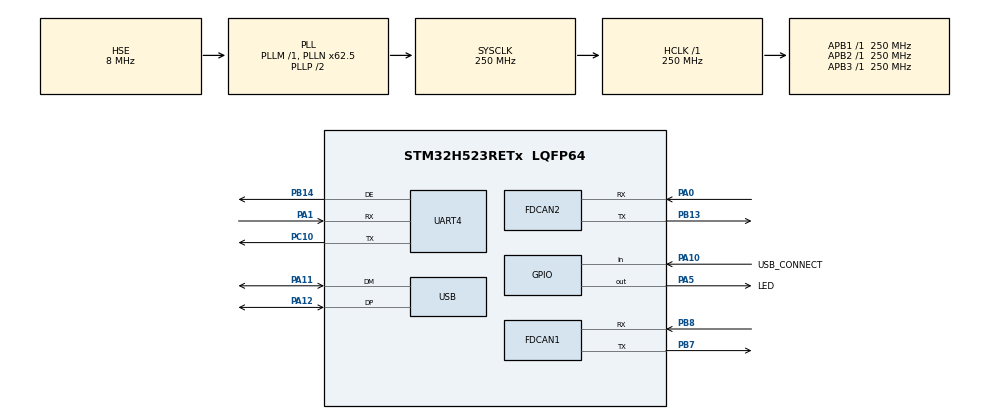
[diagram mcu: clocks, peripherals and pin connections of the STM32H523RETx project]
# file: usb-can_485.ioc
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BOOTPATH.BootPathName=LEGACY
BOOTPATH.UserSelectedBootPath=LEGACY
CORTEX_M33_NS.userName=CORTEX_M33
FDCAN1.CalculateBaudRateNominal=250000
FDCAN1.CalculateTimeBitNominal=4000
FDCAN1.CalculateTimeQuantumNominal=1000.0
FDCAN1.NominalPrescaler=8
FDCAN1.NominalTimeSeg1=2
FDCAN1.NominalTimeSeg2=1
FDCAN2.CalculateBaudRateNominal=250000
FDCAN2.CalculateTimeBitNominal=4000
FDCAN2.CalculateTimeQuantumNominal=1000.0
FDCAN2.NominalPrescaler=8
FDCAN2.NominalTimeSeg1=2
Mcu.Family=STM32H5
Mcu.Name=STM32H523RETx
Mcu.Package=LQFP64
NVIC.CRS_IRQn=true\:3\:0\:true\:false\:true\:true\:true\:true
NVIC.FDCAN1_IT0_IRQn=true\:2\:1\:true\:false\:true\:true\:true\:true
NVIC.FDCAN2_IT0_IRQn=true\:2\:0\:true\:false\:true\:true\:true\:true
NVIC.PriorityGroup=NVIC_PRIORITYGROUP_3
NVIC.USB_DRD_FS_IRQn=true\:1\:0\:true\:false\:true\:true\:true\:true
PA0.GPIO_Speed=GPIO_SPEED_FREQ_VERY_HIGH
PA0.Mode=FDCAN_Activate
PA0.Signal=FDCAN2_RX
PA1.GPIO_Speed=GPIO_SPEED_FREQ_VERY_HIGH
PA1.Mode=Asynchronous
PA1.Signal=UART4_RX
PA10.GPIO_Label=USB_CONNECT
PA10.Signal=GPIO_Input
PA11.Mode=Device
PA11.Signal=USB_DM
PA12.Mode=Device
PA12.Signal=USB_DP
PA5.GPIO_Label=LED
PA5.GPIO_Speed=GPIO_SPEED_FREQ_VERY_HIGH
PA5.Signal=GPIO_Output
PB13.GPIO_Speed=GPIO_SPEED_FREQ_VERY_HIGH
PB13.Mode=FDCAN_Activate
PB13.Signal=FDCAN2_TX
PB14.GPIO_Speed=GPIO_SPEED_FREQ_VERY_HIGH
PB14.Mode=Hardware Flow Control (RS485)
PB14.Signal=UART4_DE
PB7.GPIO_Speed=GPIO_SPEED_FREQ_VERY_HIGH
PB7.Mode=FDCAN_Activate
PB7.Signal=FDCAN1_TX
PB8.GPIO_Speed=GPIO_SPEED_FREQ_VERY_HIGH
PB8.Mode=FDCAN_Activate
PB8.Signal=FDCAN1_RX
PC10.GPIO_Speed=GPIO_SPEED_FREQ_VERY_HIGH
PC10.Mode=Asynchronous
PC10.Signal=UART4_TX
PH0-OSC_IN(PH0).Mode=HSE-External-Oscillator
PH0-OSC_IN(PH0).Signal=RCC_OSC_IN
PH1-OSC_OUT(PH1).Mode=HSE-External-Oscillator
PH1-OSC_OUT(PH1).Signal=RCC_OSC_OUT
ProjectManager.HeapSize=0x200
ProjectManager.StackSize=0x400
ProjectManager.TargetToolchain=STM32CubeIDE
RCC.ADCFreq_Value=250000000
RCC.AHBFreq_Value=250000000
RCC.APB1Freq_Value=250000000
RCC.APB1TimFreq_Value=250000000
RCC.APB2Freq_Value=250000000
RCC.APB2TimFreq_Value=250000000
RCC.APB3Freq_Value=250000000
RCC.CSI_VALUE=4000000
RCC.CortexFreq_Value=250000000
RCC.EPOD_VALUE=8000000
RCC.HCLKFreq_Value=250000000
RCC.HSE_VALUE=8000000
RCC.HSI48_VALUE=48000000
RCC.HSI_VALUE=64000000
RCC.LSE_VALUE=32768
RCC.LSIRC_VALUE=32000
RCC.PLL2FRACN=0
RCC.PLL2Source=RCC_PLL2_SOURCE_HSE
RCC.PLL3FRACN=0
RCC.PLL3N=18
RCC.PLL3Q=3
RCC.PLL3Source=RCC_PLL3_SOURCE_HSE
RCC.PLLFRACN=4096
RCC.PLLN=62
RCC.PLLSourceVirtual=RCC_PLL1_SOURCE_HSE
RCC.SYSCLKFreq_VALUE=250000000
RCC.SYSCLKSource=RCC_SYSCLKSOURCE_PLLCLK
RCC.USBFreq_Value=48000000
RCC.VCOOutputFreq_Value=500000000
USB.Sof_enable-Device=DISABLE
USB.VirtualMode=Device_Only
USBX.BSP.number=1
USBX.Core_System=1
USBX.MAX_POWER_IN_MILLI_AMPER=500
USBX.REG_UX_DEVICE_CORE=true
USBX.USBD_CDCACM_EPIN_ADDR=2
USBX.USBD_CDCACM_EPOUT_ADDR=3
USBX.USBX_DEVICE_SYS_SIZE=4096
USBX.UX_DEBUG_LOG_SIZE=1024
USBX.UX_DEVICE_APP_MEM_POOL_SIZE_STANDALONE=16384
USBX.UX_DEVICE_CDC_ACM=1
USBX.UX_DEVICE_CLASS_CDC_ACM_TRANSMISSION_DISABLE=0
USBX.UX_Device_Controller=1
USBX.UX_Device_CoreStack=1
USBX.UX_SLAVE_REQUEST_CONTROL_MAX_LENGTH=1024
USBX0.BSP.STBoard=false
USBX0.BSP.api=Unknown
USBX0.BSP.instance=USB
USBX0.BSP.ip=USB
USBX0.BSP.mode=Device_Only
USBX0.BSP.name=USB_Device
USBX0.BSP.solution=USB
VP_BOOTPATH_VS_BOOTPATH.Mode=BP_Activate
VP_CORTEX_M33_NS_VS_Hclk.Mode=Hclk_Mode
VP_MEMORYMAP_VS_MEMORYMAP.Mode=CurAppReg
VP_PWR_VS_LPOM.Mode=PowerOptimisation
VP_PWR_VS_SECSignals.Mode=Security/Privilege
VP_RCC_USB.Mode=CRS SYNC Source USB
VP_USBX_Core_System.Mode=Core_System
VP_USBX_UX\ Device\ CDC\ ACM\ Class_FS.Mode=UX_Device_class_CDC_ACM_FS
VP_USBX_UX\ Device\ Controller_FS.Mode=UX_Device_Controller_FS
VP_USBX_UX\ Device\ CoreStack_FS.Mode=UX_Device_CoreStack_FS
board=custom

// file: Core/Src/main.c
/* USER CODE BEGIN Header */
/**
  ******************************************************************************
  * @file           : main.c
  * @brief          : Main program body
  ******************************************************************************
  * @attention
  *
  * Copyright (c) 2026 STMicroelectronics.
  * All rights reserved.
  *
  * This software is licensed under terms that can be found in the LICENSE file
  * in the root directory of this software component.
  * If no LICENSE file comes with this software, it is provided AS-IS.
  *
  ******************************************************************************
  */
/* USER CODE END Header */
#include "main.h"
#include "app_usbx_device.h"

/* USER CODE BEGIN Includes */
#include "can_usb_bridge.h"
#include "led.h"

/* USER CODE END Includes */

FDCAN_HandleTypeDef hfdcan1;
FDCAN_HandleTypeDef hfdcan2;

UART_HandleTypeDef huart4;

PCD_HandleTypeDef hpcd_USB_DRD_FS;

void SystemClock_Config(void);
static void MX_GPIO_Init(void);
static void MX_FDCAN1_Init(void);
static void MX_FDCAN2_Init(void);
static void MX_UART4_Init(void);
static void MX_USB_PCD_Init(void);

/* USER CODE BEGIN 0 */
static void USB_CRS_Config(void)
{
  RCC_CRSInitTypeDef crs_cfg = {0};

  __HAL_RCC_CRS_CLK_ENABLE();

  crs_cfg.Prescaler = RCC_CRS_SYNC_DIV1;
  crs_cfg.Source = RCC_CRS_SYNC_SOURCE_USB;
  crs_cfg.Polarity = RCC_CRS_SYNC_POLARITY_RISING;
  crs_cfg.ReloadValue = __HAL_RCC_CRS_RELOADVALUE_CALCULATE(48000000U, 1000U);
  crs_cfg.ErrorLimitValue = RCC_CRS_ERRORLIMIT_DEFAULT;
  crs_cfg.HSI48CalibrationValue = RCC_CRS_HSI48CALIBRATION_DEFAULT;
  HAL_RCCEx_CRSConfig(&crs_cfg);
}
static void FDCAN_ConfigAcceptAll(FDCAN_HandleTypeDef *hfdcan)
{
  FDCAN_FilterTypeDef sFilterConfig = {0};
  sFilterConfig.IdType = FDCAN_EXTENDED_ID;
  sFilterConfig.FilterIndex = 0;
  sFilterConfig.FilterType = FDCAN_FILTER_MASK;
  sFilterConfig.FilterConfig = FDCAN_FILTER_TO_RXFIFO0;
  sFilterConfig.FilterID1 = 0;
  sFilterConfig.FilterID2 = 0;
  (void)HAL_FDCAN_ConfigFilter(hfdcan, &sFilterConfig);

  sFilterConfig.IdType = FDCAN_STANDARD_ID;
  sFilterConfig.FilterIndex = 1;
  sFilterConfig.FilterType = FDCAN_FILTER_MASK;
  sFilterConfig.FilterConfig = FDCAN_FILTER_TO_RXFIFO0;
  sFilterConfig.FilterID1 = 0;
  sFilterConfig.FilterID2 = 0;
  (void)HAL_FDCAN_ConfigFilter(hfdcan, &sFilterConfig);

  (void)HAL_FDCAN_ConfigGlobalFilter(hfdcan, FDCAN_ACCEPT_IN_RX_FIFO0, FDCAN_ACCEPT_IN_RX_FIFO0,
                                     FDCAN_FILTER_REMOTE, FDCAN_FILTER_REMOTE);
}

/* USER CODE END 0 */

int main(void)
{

  /* MCU Configuration--------------------------------------------------------*/

  /* Reset of all peripherals, Initializes the Flash interface and the Systick. */
  HAL_Init();

  /* Configure the system clock */
  SystemClock_Config();

  /* USER CODE BEGIN SysInit */
  USB_CRS_Config();

  /* USER CODE END SysInit */

  /* Initialize all configured peripherals */
  MX_GPIO_Init();
  Led_Init();
  MX_FDCAN1_Init();
  MX_FDCAN2_Init();
  MX_UART4_Init();
  MX_USB_PCD_Init();
  MX_USBX_Device_Init();
  /* USER CODE BEGIN 2 */
  HAL_PWREx_EnableVddUSB();
  HAL_PWREx_EnableUSBVoltageDetector();

  FDCAN_ConfigAcceptAll(&hfdcan1);
  FDCAN_ConfigAcceptAll(&hfdcan2);
  HAL_FDCAN_Start(&hfdcan1);
  HAL_FDCAN_Start(&hfdcan2);
  HAL_FDCAN_ActivateNotification(&hfdcan1, FDCAN_IT_RX_FIFO0_NEW_MESSAGE, 0);
  HAL_FDCAN_ActivateNotification(&hfdcan2, FDCAN_IT_RX_FIFO0_NEW_MESSAGE, 0);
  Bridge_Init();

  /* USER CODE END 2 */

  /* Infinite loop */
  while (1)
  {

    /* USER CODE BEGIN 3 */
    MX_USBX_Device_Process();
    Bridge_Process();
    //Led_Process();
  }
  /* USER CODE END 3 */
}

void SystemClock_Config(void)
{
  RCC_OscInitTypeDef RCC_OscInitStruct = {0};
  RCC_ClkInitTypeDef RCC_ClkInitStruct = {0};
  RCC_CRSInitTypeDef RCC_CRSInitStruct = {0};

  /** Configure the main internal regulator output voltage
  */
  __HAL_PWR_VOLTAGESCALING_CONFIG(PWR_REGULATOR_VOLTAGE_SCALE0);

  while(!__HAL_PWR_GET_FLAG(PWR_FLAG_VOSRDY)) {}

  /** Initializes the RCC Oscillators according to the specified parameters
  * in the RCC_OscInitTypeDef structure.
  */
  RCC_OscInitStruct.OscillatorType = RCC_OSCILLATORTYPE_HSI48|RCC_OSCILLATORTYPE_HSE;
  RCC_OscInitStruct.HSEState = RCC_HSE_ON;
  RCC_OscInitStruct.HSI48State = RCC_HSI48_ON;
  RCC_OscInitStruct.PLL.PLLState = RCC_PLL_ON;
  RCC_OscInitStruct.PLL.PLLSource = RCC_PLL1_SOURCE_HSE;
  RCC_OscInitStruct.PLL.PLLM = 1;
  RCC_OscInitStruct.PLL.PLLN = 62;
  RCC_OscInitStruct.PLL.PLLP = 2;
  RCC_OscInitStruct.PLL.PLLQ = 2;
  RCC_OscInitStruct.PLL.PLLR = 2;
  RCC_OscInitStruct.PLL.PLLRGE = RCC_PLL1_VCIRANGE_3;
  RCC_OscInitStruct.PLL.PLLVCOSEL = RCC_PLL1_VCORANGE_WIDE;
  RCC_OscInitStruct.PLL.PLLFRACN = 4096;
  if (HAL_RCC_OscConfig(&RCC_OscInitStruct) != HAL_OK)
  {
    Error_Handler();
  }

  /** Initializes the CPU, AHB and APB buses clocks
  */
  RCC_ClkInitStruct.ClockType = RCC_CLOCKTYPE_HCLK|RCC_CLOCKTYPE_SYSCLK
                              |RCC_CLOCKTYPE_PCLK1|RCC_CLOCKTYPE_PCLK2
                              |RCC_CLOCKTYPE_PCLK3;
  RCC_ClkInitStruct.SYSCLKSource = RCC_SYSCLKSOURCE_PLLCLK;
  RCC_ClkInitStruct.AHBCLKDivider = RCC_SYSCLK_DIV1;
  RCC_ClkInitStruct.APB1CLKDivider = RCC_HCLK_DIV1;
  RCC_ClkInitStruct.APB2CLKDivider = RCC_HCLK_DIV1;
  RCC_ClkInitStruct.APB3CLKDivider = RCC_HCLK_DIV1;

  if (HAL_RCC_ClockConfig(&RCC_ClkInitStruct, FLASH_LATENCY_5) != HAL_OK)
  {
    Error_Handler();
  }

  /** Enable the CRS APB clock
  */
  __HAL_RCC_CRS_CLK_ENABLE();

  /** Configures CRS
  */
  RCC_CRSInitStruct.Prescaler = RCC_CRS_SYNC_DIV1;
  RCC_CRSInitStruct.Source = RCC_CRS_SYNC_SOURCE_USB;
  RCC_CRSInitStruct.Polarity = RCC_CRS_SYNC_POLARITY_RISING;
  RCC_CRSInitStruct.ReloadValue = __HAL_RCC_CRS_RELOADVALUE_CALCULATE(48000000,1000);
  RCC_CRSInitStruct.ErrorLimitValue = 34;
  RCC_CRSInitStruct.HSI48CalibrationValue = 32;

  HAL_RCCEx_CRSConfig(&RCC_CRSInitStruct);

  /** Configure the programming delay
  */
  __HAL_FLASH_SET_PROGRAM_DELAY(FLASH_PROGRAMMING_DELAY_2);
}

static void MX_FDCAN1_Init(void)
{

  hfdcan1.Instance = FDCAN1;
  hfdcan1.Init.ClockDivider = FDCAN_CLOCK_DIV1;
  hfdcan1.Init.FrameFormat = FDCAN_FRAME_CLASSIC;
  hfdcan1.Init.Mode = FDCAN_MODE_NORMAL;
  hfdcan1.Init.AutoRetransmission = DISABLE;
  hfdcan1.Init.TransmitPause = DISABLE;
  hfdcan1.Init.ProtocolException = DISABLE;
  hfdcan1.Init.NominalPrescaler = 8;
  hfdcan1.Init.NominalSyncJumpWidth = 1;
  hfdcan1.Init.NominalTimeSeg1 = 2;
  hfdcan1.Init.NominalTimeSeg2 = 1;
  hfdcan1.Init.DataPrescaler = 1;
  hfdcan1.Init.DataSyncJumpWidth = 1;
  hfdcan1.Init.DataTimeSeg1 = 1;
  hfdcan1.Init.DataTimeSeg2 = 1;
  hfdcan1.Init.StdFiltersNbr = 0;
  hfdcan1.Init.ExtFiltersNbr = 0;
  hfdcan1.Init.TxFifoQueueMode = FDCAN_TX_FIFO_OPERATION;
  if (HAL_FDCAN_Init(&hfdcan1) != HAL_OK)
  {
    Error_Handler();
  }

}

static void MX_FDCAN2_Init(void)
{

  hfdcan2.Instance = FDCAN2;
  hfdcan2.Init.ClockDivider = FDCAN_CLOCK_DIV1;
  hfdcan2.Init.FrameFormat = FDCAN_FRAME_CLASSIC;
  hfdcan2.Init.Mode = FDCAN_MODE_NORMAL;
  hfdcan2.Init.AutoRetransmission = DISABLE;
  hfdcan2.Init.TransmitPause = DISABLE;
  hfdcan2.Init.ProtocolException = DISABLE;
  hfdcan2.Init.NominalPrescaler = 8;
  hfdcan2.Init.NominalSyncJumpWidth = 1;
  hfdcan2.Init.NominalTimeSeg1 = 2;
  hfdcan2.Init.NominalTimeSeg2 = 1;
  hfdcan2.Init.DataPrescaler = 1;
  hfdcan2.Init.DataSyncJumpWidth = 1;
  hfdcan2.Init.DataTimeSeg1 = 1;
  hfdcan2.Init.DataTimeSeg2 = 1;
  hfdcan2.Init.StdFiltersNbr = 0;
  hfdcan2.Init.ExtFiltersNbr = 0;
  hfdcan2.Init.TxFifoQueueMode = FDCAN_TX_FIFO_OPERATION;
  if (HAL_FDCAN_Init(&hfdcan2) != HAL_OK)
  {
    Error_Handler();
  }

}

static void MX_UART4_Init(void)
{

  huart4.Instance = UART4;
  huart4.Init.BaudRate = 460800;
  huart4.Init.WordLength = UART_WORDLENGTH_8B;
  huart4.Init.StopBits = UART_STOPBITS_1;
  huart4.Init.Parity = UART_PARITY_NONE;
  huart4.Init.Mode = UART_MODE_TX_RX;
  huart4.Init.HwFlowCtl = UART_HWCONTROL_NONE;
  huart4.Init.OverSampling = UART_OVERSAMPLING_16;
  huart4.Init.OneBitSampling = UART_ONE_BIT_SAMPLE_DISABLE;
  huart4.Init.ClockPrescaler = UART_PRESCALER_DIV1;
  huart4.AdvancedInit.AdvFeatureInit = UART_ADVFEATURE_NO_INIT;
  if (HAL_RS485Ex_Init(&huart4, UART_DE_POLARITY_HIGH, 0, 0) != HAL_OK)
  {
    Error_Handler();
  }
  if (HAL_UARTEx_SetTxFifoThreshold(&huart4, UART_TXFIFO_THRESHOLD_1_8) != HAL_OK)
  {
    Error_Handler();
  }
  if (HAL_UARTEx_SetRxFifoThreshold(&huart4, UART_RXFIFO_THRESHOLD_1_8) != HAL_OK)
  {
    Error_Handler();
  }
  if (HAL_UARTEx_DisableFifoMode(&huart4) != HAL_OK)
  {
    Error_Handler();
  }

}

static void MX_USB_PCD_Init(void)
{

  hpcd_USB_DRD_FS.Instance = USB_DRD_FS;
  hpcd_USB_DRD_FS.Init.dev_endpoints = 8;
  hpcd_USB_DRD_FS.Init.speed = USBD_FS_SPEED;
  hpcd_USB_DRD_FS.Init.phy_itface = PCD_PHY_EMBEDDED;
  hpcd_USB_DRD_FS.Init.Sof_enable = DISABLE;
  hpcd_USB_DRD_FS.Init.low_power_enable = DISABLE;
  hpcd_USB_DRD_FS.Init.lpm_enable = DISABLE;
  hpcd_USB_DRD_FS.Init.battery_charging_enable = DISABLE;
  hpcd_USB_DRD_FS.Init.vbus_sensing_enable = DISABLE;
  hpcd_USB_DRD_FS.Init.bulk_doublebuffer_enable = DISABLE;
  hpcd_USB_DRD_FS.Init.iso_singlebuffer_enable = DISABLE;
  if (HAL_PCD_Init(&hpcd_USB_DRD_FS) != HAL_OK)
  {
    Error_Handler();
  }
  /* USER CODE BEGIN USB_Init 2 */
  /* PMA: как в примерах ST для USBX CDC на H5 — по 64 байта на bulk IN/OUT без перекрытия. */
  if (HAL_PCDEx_PMAConfig(&hpcd_USB_DRD_FS, 0x00U, PCD_SNG_BUF, 0x20U) != HAL_OK)
  {
    Error_Handler();
  }
  if (HAL_PCDEx_PMAConfig(&hpcd_USB_DRD_FS, 0x80U, PCD_SNG_BUF, 0x60U) != HAL_OK)
  {
    Error_Handler();
  }
  if (HAL_PCDEx_PMAConfig(&hpcd_USB_DRD_FS, 0x81U, PCD_SNG_BUF, 0xA0U) != HAL_OK)
  {
    Error_Handler();
  }
  if (HAL_PCDEx_PMAConfig(&hpcd_USB_DRD_FS, 0x82U, PCD_SNG_BUF, 0xE0U) != HAL_OK)
  {
    Error_Handler();
  }
  if (HAL_PCDEx_PMAConfig(&hpcd_USB_DRD_FS, 0x03U, PCD_SNG_BUF, 0x120U) != HAL_OK)
  {
    Error_Handler();
  }

  /* USER CODE END USB_Init 2 */

}

static void MX_GPIO_Init(void)
{
  GPIO_InitTypeDef GPIO_InitStruct = {0};

  /* GPIO Ports Clock Enable */
  __HAL_RCC_GPIOH_CLK_ENABLE();
  __HAL_RCC_GPIOA_CLK_ENABLE();
  __HAL_RCC_GPIOB_CLK_ENABLE();
  __HAL_RCC_GPIOC_CLK_ENABLE();

  /*Configure GPIO pin Output Level */
  HAL_GPIO_WritePin(LED_GPIO_Port, LED_Pin, GPIO_PIN_RESET);

  /*Configure GPIO pin : LED_Pin */
  GPIO_InitStruct.Pin = LED_Pin;
  GPIO_InitStruct.Mode = GPIO_MODE_OUTPUT_PP;
  GPIO_InitStruct.Pull = GPIO_NOPULL;
  GPIO_InitStruct.Speed = GPIO_SPEED_FREQ_VERY_HIGH;
  HAL_GPIO_Init(LED_GPIO_Port, &GPIO_InitStruct);

  /*Configure GPIO pin : USB_CONNECT_Pin */
  GPIO_InitStruct.Pin = USB_CONNECT_Pin;
  GPIO_InitStruct.Mode = GPIO_MODE_INPUT;
  GPIO_InitStruct.Pull = GPIO_NOPULL;
  HAL_GPIO_Init(USB_CONNECT_GPIO_Port, &GPIO_InitStruct);

  /* USER CODE BEGIN MX_GPIO_Init_2 */
  /* Leave USB_CONNECT in high impedance (no software drive). */
  /* USER CODE END MX_GPIO_Init_2 */
}

/* USER CODE BEGIN 4 */
void HAL_FDCAN_RxFifo0Callback(FDCAN_HandleTypeDef *hfdcan, uint32_t RxFifo0ITs)
{
  if ((RxFifo0ITs & FDCAN_IT_RX_FIFO0_NEW_MESSAGE) == 0u) {
    return;
  }
  uint8_t bus = (hfdcan->Instance == FDCAN2) ? 2u : 1u;
  while (HAL_FDCAN_GetRxFifoFillLevel(hfdcan, FDCAN_RX_FIFO0) > 0u) {
    FDCAN_RxHeaderTypeDef rxh;
    uint8_t data[8] = {0};
    if (HAL_FDCAN_GetRxMessage(hfdcan, FDCAN_RX_FIFO0, &rxh, data) != HAL_OK) {
      break;
    }
    uint32_t id = (rxh.IdType == FDCAN_EXTENDED_ID) ? (rxh.Identifier & 0x1FFFFFFFu)
                                                     : (rxh.Identifier & 0x7FFu);
    Bridge_CanRxPush(bus, id, data);
  }
}

void HAL_UARTEx_RxEventCallback(UART_HandleTypeDef *huart, uint16_t Size)
{
  if (huart->Instance == UART4) {
    Bridge_UartRxEvent(Size);
  }
}

void HAL_UART_TxCpltCallback(UART_HandleTypeDef *huart)
{
  if (huart->Instance == UART4) {
    Bridge_UartTxCplt();
  }
}

void HAL_UART_ErrorCallback(UART_HandleTypeDef *huart)
{
  if (huart->Instance == UART4) {
    Bridge_UartError();
  }
}

/* USER CODE END 4 */

void Error_Handler(void)
{
  __disable_irq();
  while (1)
  {
  }
}
